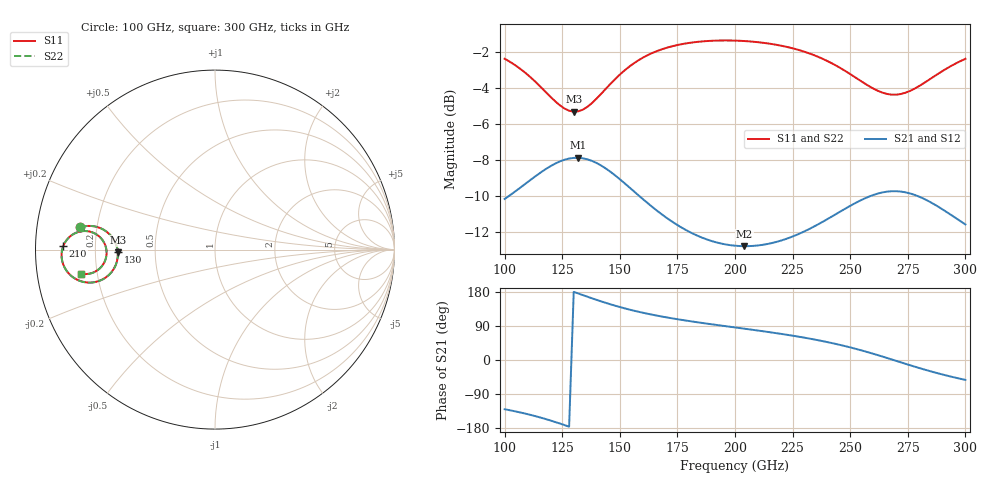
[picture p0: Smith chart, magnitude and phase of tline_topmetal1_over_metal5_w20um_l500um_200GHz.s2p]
#  GHZ S DB R 50
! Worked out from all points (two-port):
!   101 points, 100 GHz to 300 GHz, reference 50 ohm
!   highest |S21| = -7.89 dB at 132 GHz (marker M1); lowest = -12.8 dB at 204 GHz (marker M2)
!   |S21| within 3 dB of the highest: start of sweep to 166.7 GHz; 245.6 GHz to 291.6 GHz (46.06 GHz wide, 17.1 % of centre)
!   lowest |S11| = -5.3 dB at 130 GHz (marker M3), VSWR 3.37, Z = 14.9 - j0.627 ohm
!   |S11| at or under -10 dB: nowhere
!   |S22| runs from -5.3 to -1.4 dB; largest |S21 - S12| = 0
!   S11 on the Smith chart (normalised r, x): 100 GHz: 0.14, +0.08; 130 GHz: 0.30, -0.01; 210 GHz: 0.08, +0.01; 300 GHz: 0.14, -0.09
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100  -2.37 170.6  -10.18 -129.9  -10.18 -129.9  -2.37 170.6
108  -3.05 169.2  -9.43 -140.1  -9.43 -140.1  -3.06 169.2
116  -3.99 169.8  -8.68 -152.6  -8.68 -152.6  -3.99 169.8
124  -4.97 174.7  -8.09 -167.7  -8.09 -167.7  -4.97 174.7
130  -5.32 -178.4  -7.89 179.8  -7.89 179.8  -5.33 -178.4
132  -5.30 -175.9  -7.89 175.5  -7.89 175.5  -5.31 -175.9
134  -5.21 -173.4  -7.92 171.2  -7.92 171.2  -5.21 -173.4
142  -4.31 -166.5  -8.33 154.5  -8.33 154.5  -4.32 -166.5
150  -3.26 -164.8  -9.08 139.8  -9.08 139.8  -3.26 -164.8
158  -2.47 -166.1  -9.96 127.5  -9.96 127.5  -2.47 -166.1
168  -1.86 -169.1  -11.01 115.0  -11.01 115.0  -1.86 -169.1
182  -1.46 -173.5  -12.12 101.1  -12.12 101.1  -1.46 -173.5
200  -1.36 -178.6  -12.78 85.9  -12.78 85.9  -1.36 -178.6
204  -1.39 -179.7  -12.81 82.7  -12.81 82.7  -1.39 -179.7
210  -1.45 178.7  -12.77 77.7  -12.77 77.7  -1.45 178.8
234  -2.16 173.1  -11.73 54.6  -11.73 54.6  -2.16 173.1
252  -3.39 172.3  -10.42 30.1  -10.42 30.1  -3.39 172.3
260  -4.03 175.2  -9.96 16.5  -9.96 16.5  -4.03 175.2
268  -4.37 -179.4  -9.75 1.5  -9.75 1.5  -4.37 -179.4
276  -4.16 -173.7  -9.87 -13.8  -9.87 -13.8  -4.16 -173.6
284  -3.56 -170.1  -10.30 -28.3  -10.30 -28.3  -3.56 -170.1
300  -2.38 -169.9  -11.60 -52.5  -11.60 -52.5  -2.38 -169.9
